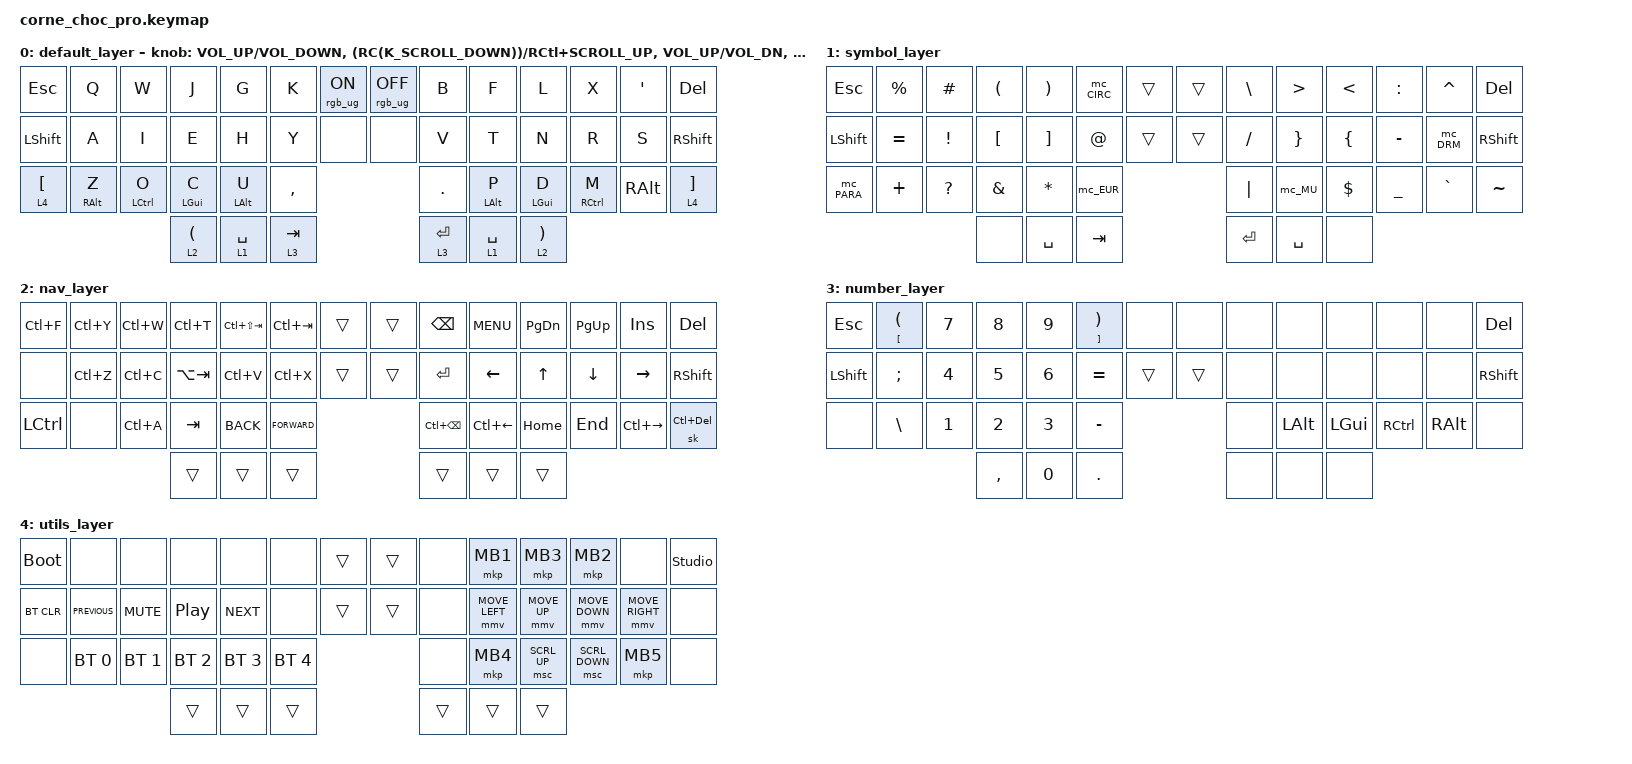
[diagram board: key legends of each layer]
/*
 * Copyright (c) 2020 The ZMK Contributors
 *
 * SPDX-License-Identifier: MIT
 */

#define ZMK_POINTING_DEFAULT_MOVE_VAL 800  // default: 600
#define ZMK_POINTING_DEFAULT_SCRL_VAL 20    // default: 10

#include <behaviors.dtsi>
#include <dt-bindings/zmk/bt.h>
#include <dt-bindings/zmk/keys.h>
#include <dt-bindings/zmk/pointing.h>
#include <dt-bindings/zmk/rgb.h>

&mt { flavor = "tap-preferred"; };

/ {
    combos {
        compatible = "zmk,combos";

        BKSPC {
            bindings = <&kp BACKSPACE>;
            key-positions = <23 24>;
        };
    };

    macros {
        mc_EUR: mc_EUR {
            compatible = "zmk,behavior-macro";
            #binding-cells = <0>;
            bindings = <&kp RA(N5)>;
            label = "MC_EUR";
        };

        mc_DRM: mc_DRM {
            compatible = "zmk,behavior-macro";
            #binding-cells = <0>;
            bindings = <&kp RA(LS(L))>;
            label = "MC_DRM";
        };

        mc_MU: mc_MUE {
            compatible = "zmk,behavior-macro";
            #binding-cells = <0>;
            bindings = <&kp RA(M)>;
            label = "MC_MUE";
        };

        mc_CIRC: mc_CIRC {
            compatible = "zmk,behavior-macro";
            #binding-cells = <0>;
            bindings = <&kp RA(LS(SEMI))>;
            label = "MC_CIRC";
        };

        mc_PARA: mc_PARA {
            compatible = "zmk,behavior-macro";
            #binding-cells = <0>;
            bindings = <&kp RA(LS(S))>;
            label = "MC_PARA";
        };
    };

    keymap {
        compatible = "zmk,keymap";

        default_layer {
            bindings = <
&kp ESC             &kp Q            &kp W        &kp J                   &kp G           &kp K      &rgb_ug RGB_ON  &rgb_ug RGB_OFF  &kp B        &kp F           &kp L                    &kp X        &kp APOS       &kp DEL
&kp LEFT_SHIFT      &kp A            &kp I        &kp E                   &kp H           &kp Y      &none           &none            &kp V        &kp T           &kp N                    &kp R        &kp S          &kp RIGHT_SHIFT
&lt 4 LEFT_BRACKET  &mt RIGHT_ALT Z  &mt LCTRL O  &mt LEFT_GUI C          &mt LEFT_ALT U  &kp COMMA                                   &kp DOT      &mt LEFT_ALT P  &mt LEFT_GUI D           &mt RCTRL M  &kp RIGHT_ALT  &lt 4 RIGHT_BRACKET
                                                  &lt 2 LEFT_PARENTHESIS  &lt 1 SPACE     &lt 3 TAB                                   &lt 3 ENTER  &lt 1 SPACE     &lt 2 RIGHT_PARENTHESIS
            >;

            sensor-bindings =
                <&inc_dec_kp C_VOLUME_UP C_VOLUME_DOWN>,
                <&inc_dec_kp (RC(K_SCROLL_DOWN)) RC(K_SCROLL_UP)>,
                <&inc_dec_kp C_VOLUME_UP C_VOL_DN>,
                <&inc_dec_kp K_SCROLL_DOWN K_SCROLL_UP>;
        };

        symbol_layer {
            bindings = <
&kp ESC         &kp PERCENT  &kp HASH   &kp LEFT_PARENTHESIS  &kp RIGHT_PARENTHESIS  &mc_CIRC  &trans  &trans  &kp BACKSLASH  &kp GT           &kp LT          &kp COLON  &kp CARET  &kp DELETE
&kp LEFT_SHIFT  &kp EQUAL    &kp EXCL   &kp LEFT_BRACKET      &kp RIGHT_BRACKET      &kp AT    &trans  &trans  &kp SLASH      &kp RIGHT_BRACE  &kp LEFT_BRACE  &kp MINUS  &mc_DRM    &kp RIGHT_SHIFT
&mc_PARA        &kp PLUS     &kp QMARK  &kp AMPS              &kp STAR               &mc_EUR                   &kp PIPE       &mc_MU           &kp DOLLAR      &kp UNDER  &kp GRAVE  &kp TILDE
                                        &none                 &kp SPACE              &kp TAB                   &kp ENTER      &kp SPACE        &none
            >;
        };

        nav_layer {
            bindings = <
&kp LC(F)  &kp LC(Y)  &kp LC(W)  &kp LC(T)    &kp LC(LS(TAB))  &kp LC(TAB)    &trans  &trans  &kp BACKSPACE      &kp K_MENU    &kp PG_DN     &kp PG_UP  &kp INSERT     &kp DEL
&none      &kp LC(Z)  &kp LC(C)  &kp LA(TAB)  &kp LC(V)        &kp LC(X)      &trans  &trans  &kp ENTER          &kp LEFT      &kp UP_ARROW  &kp DOWN   &kp RIGHT      &kp RIGHT_SHIFT
&kp LCTRL  &none      &kp LC(A)  &kp TAB      &kp K_BACK       &kp K_FORWARD                  &kp LC(BACKSPACE)  &kp LC(LEFT)  &kp HOME      &kp END    &kp LC(RIGHT)  &sk LC(DELETE)
                                 &trans       &trans           &trans                         &trans             &trans        &trans
            >;
        };

        number_layer {
            bindings = <
&kp ESC         &mt LBKT LEFT_PARENTHESIS  &kp N7  &kp N8     &kp N9  &mt RBKT RIGHT_PARENTHESIS  &none   &none   &none  &none         &none         &none      &none     &kp DEL
&kp LEFT_SHIFT  &kp SEMI                   &kp N4  &kp N5     &kp N6  &kp EQUAL                   &trans  &trans  &none  &none         &none         &none      &none     &kp RIGHT_SHIFT
&none           &kp BSLH                   &kp N1  &kp N2     &kp N3  &kp MINUS                                   &none  &kp LEFT_ALT  &kp LEFT_GUI  &kp RCTRL  &kp RALT  &none
                                                   &kp COMMA  &kp N0  &kp DOT                                     &none  &none         &none
            >;
        };

        utils_layer {
            bindings = <
&bootloader  &none           &none         &none             &none         &none         &trans  &trans  &none   &mkp MB1        &mkp MB3      &mkp MB2        &none            &studio_unlock
&bt BT_CLR   &kp C_PREVIOUS  &kp C_MUTE    &kp C_PLAY_PAUSE  &kp C_NEXT    &none         &trans  &trans  &none   &mmv MOVE_LEFT  &mmv MOVE_UP  &mmv MOVE_DOWN  &mmv MOVE_RIGHT  &none
&none        &bt BT_SEL 0    &bt BT_SEL 1  &bt BT_SEL 2      &bt BT_SEL 3  &bt BT_SEL 4                  &none   &mkp MB4        &msc SCRL_UP  &msc SCRL_DOWN  &mkp MB5         &none
                                           &trans            &trans        &trans                        &trans  &trans          &trans
            >;
        };
    };

    conditional_layers { compatible = "zmk,conditional-layers"; };
};
